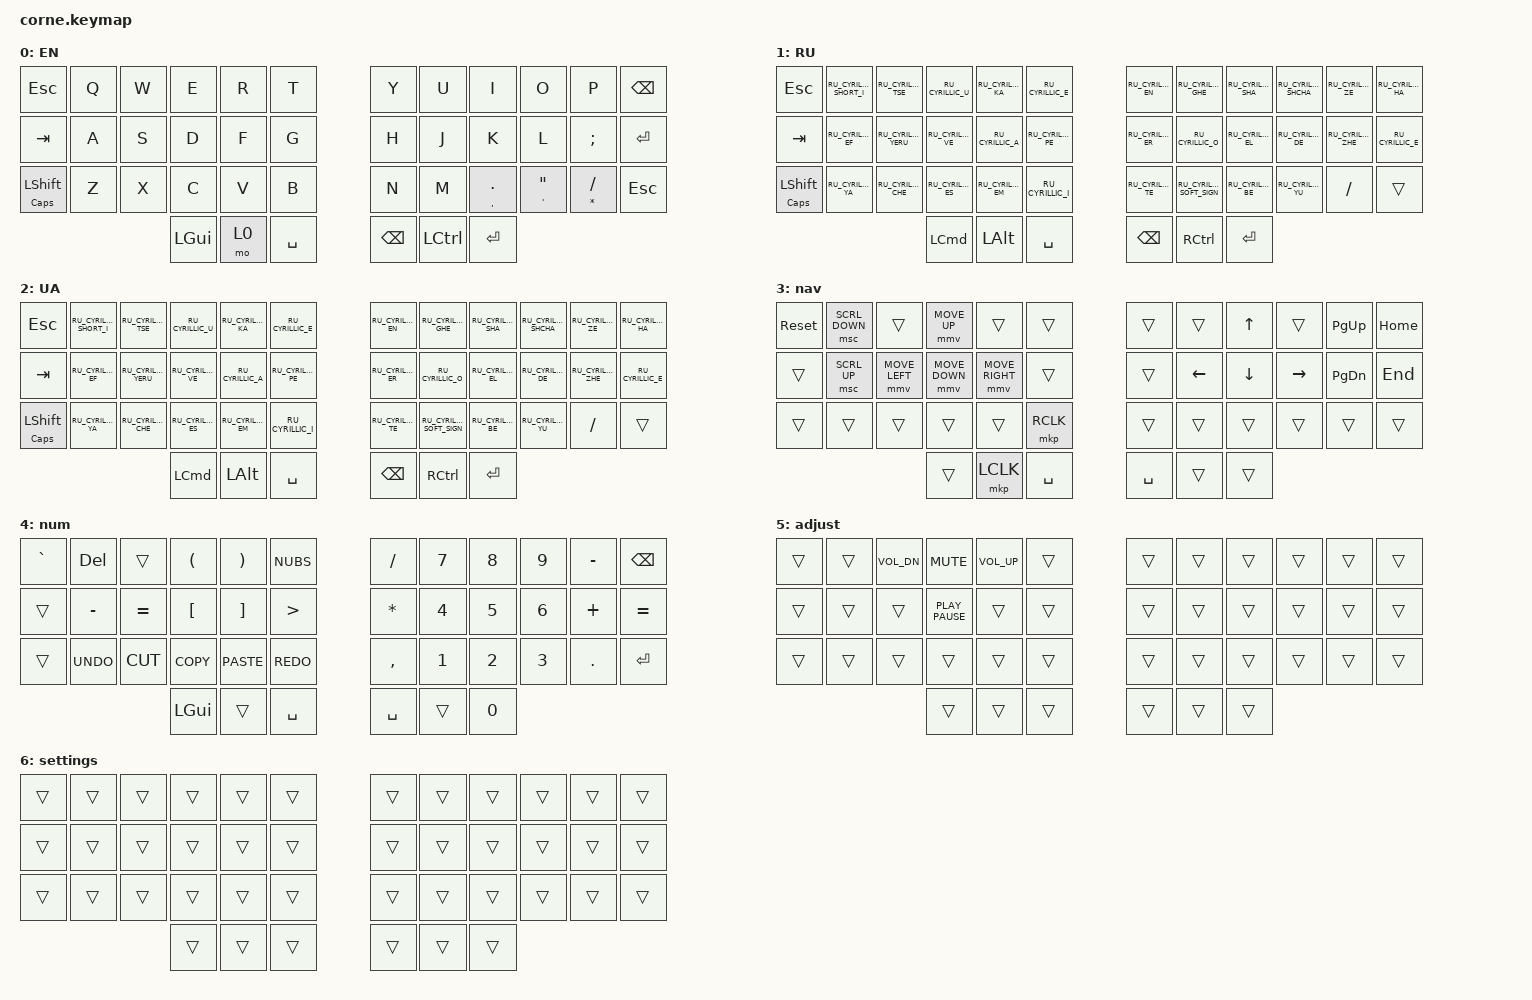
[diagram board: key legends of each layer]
/*
 * Copyright (c) 2020 The ZMK Contributors
 *
 * SPDX-License-Identifier: MIT
 */

#include "keys_ru.h"
#include <behaviors.dtsi>
#include <dt-bindings/zmk/keys.h>
#include <dt-bindings/zmk/pointing.h>

/ {
    combos {
        compatible = "zmk,combos";

        Escape {
            bindings = <&kp ESC>;
            key-positions = <0 11>;
        };

        OpenParenthesis {
            bindings = <&kp LEFT_PARENTHESIS>;
            key-positions = <6 7>;
        };

        OpenBrace {
            bindings = <&kp LEFT_BRACE>;
            key-positions = <18 19>;
        };

        OpenBracket {
            bindings = <&kp LEFT_BRACKET>;
            key-positions = <30 31>;
        };

        CloseParenthasis {
            bindings = <&kp RIGHT_PARENTHESIS>;
            key-positions = <8 7>;
        };

        CloseBrace {
            bindings = <&kp RIGHT_BRACE>;
            key-positions = <19 20>;
        };

        CloseBracket {
            bindings = <&kp RIGHT_BRACKET>;
            key-positions = <31 32>;
        };

        LessThan {
            bindings = <&kp LESS_THAN>;
            key-positions = <3 4>;
        };

        GreatherThan {
            bindings = <&kp GREATER_THAN>;
            key-positions = <4 5>;
        };

        Enter {
            bindings = <&kp ENTER>;
            key-positions = <38 39>;
        };
    };

    keymap {
        compatible = "zmk,keymap";

        EN {
            // -----------------------------------------------------------------------------------------
            // |  TAB |  Q  |  W  |  E  |  R  |  T  |   |  Y  |  U   |  I  |  O  |  P  | BSPC |
            // | SHFT |  A  |  S  |  D  |  F  |  G  |   |  H  |  J   |  K  |  L  |  ;  | ENTR |
            // | CTRL |  Z  |  X  |  C  |  V  |  B  |   |  N  |  M   | ./, | '/" |  /* | EQU |
            //                    | GUI | LWR | SPC |   | SPC | L2   | L1  |

            bindings = <
&kp ESCAPE               &kp Q  &kp W  &kp E     &kp R  &kp T        &kp Y          &kp U      &kp I          &kp O                  &kp P          &kp BSPC
&kp TAB                  &kp A  &kp S  &kp D     &kp F  &kp G        &kp H          &kp J      &kp K          &kp L                  &kp SEMI       &kp ENTER
&mt CAPSLOCK LEFT_SHIFT  &kp Z  &kp X  &kp C     &kp V  &kp B        &kp N          &kp M      &mt COMMA DOT  &mt SQT DOUBLE_QUOTES  &mt STAR FSLH  &kp ESC
                                       &kp LGUI  &mo 0  &kp SPACE    &kp BACKSPACE  &kp LCTRL  &kp ENTER
            >;
        };

        RU {
            bindings = <
&kp ESCAPE               &kp RU_CYRILLIC_SHORT_I  &kp RU_CYRILLIC_TSE   &kp RU_CYRILLIC_U   &kp RU_CYRILLIC_KA  &kp RU_CYRILLIC_E     &kp RU_CYRILLIC_EN  &kp RU_CYRILLIC_GHE        &kp RU_CYRILLIC_SHA  &kp RU_CYRILLIC_SHCHA  &kp RU_CYRILLIC_ZE   &kp RU_CYRILLIC_HA
&kp TAB                  &kp RU_CYRILLIC_EF       &kp RU_CYRILLIC_YERU  &kp RU_CYRILLIC_VE  &kp RU_CYRILLIC_A   &kp RU_CYRILLIC_PE    &kp RU_CYRILLIC_ER  &kp RU_CYRILLIC_O          &kp RU_CYRILLIC_EL   &kp RU_CYRILLIC_DE     &kp RU_CYRILLIC_ZHE  &kp RU_CYRILLIC_E
&mt CAPSLOCK LEFT_SHIFT  &kp RU_CYRILLIC_YA       &kp RU_CYRILLIC_CHE   &kp RU_CYRILLIC_ES  &kp RU_CYRILLIC_EM  &kp RU_CYRILLIC_I     &kp RU_CYRILLIC_TE  &kp RU_CYRILLIC_SOFT_SIGN  &kp RU_CYRILLIC_BE   &kp RU_CYRILLIC_YU     &kp FSLH             &trans
                                                                        &kp LEFT_COMMAND    &kp LEFT_ALT        &kp SPACE             &kp BACKSPACE       &kp RCTRL                  &kp ENTER
            >;
        };

        UA {
            bindings = <
&kp ESCAPE               &kp RU_CYRILLIC_SHORT_I  &kp RU_CYRILLIC_TSE   &kp RU_CYRILLIC_U   &kp RU_CYRILLIC_KA  &kp RU_CYRILLIC_E     &kp RU_CYRILLIC_EN  &kp RU_CYRILLIC_GHE        &kp RU_CYRILLIC_SHA  &kp RU_CYRILLIC_SHCHA  &kp RU_CYRILLIC_ZE   &kp RU_CYRILLIC_HA
&kp TAB                  &kp RU_CYRILLIC_EF       &kp RU_CYRILLIC_YERU  &kp RU_CYRILLIC_VE  &kp RU_CYRILLIC_A   &kp RU_CYRILLIC_PE    &kp RU_CYRILLIC_ER  &kp RU_CYRILLIC_O          &kp RU_CYRILLIC_EL   &kp RU_CYRILLIC_DE     &kp RU_CYRILLIC_ZHE  &kp RU_CYRILLIC_E
&mt CAPSLOCK LEFT_SHIFT  &kp RU_CYRILLIC_YA       &kp RU_CYRILLIC_CHE   &kp RU_CYRILLIC_ES  &kp RU_CYRILLIC_EM  &kp RU_CYRILLIC_I     &kp RU_CYRILLIC_TE  &kp RU_CYRILLIC_SOFT_SIGN  &kp RU_CYRILLIC_BE   &kp RU_CYRILLIC_YU     &kp FSLH             &trans
                                                                        &kp LEFT_COMMAND    &kp LEFT_ALT        &kp SPACE             &kp BACKSPACE       &kp RCTRL                  &kp ENTER
            >;
        };

        nav {
            // -----------------------------------------------------------------------------------------
            // | SYSR |     |     |     |     |     |   |     |  1  |  2  |  3  |  0  |      |
            // |      |     |     | UP  |     |     |   |     |  4  |  5  |  6  |     |      |
            // |      |     | LFT | DWN | RGT |     |   |     |  7  |  8  |  9  |     |      |
            //                    |     |     | SPC |   | SPC |     |     |

            bindings = <
&sys_reset  &msc SCRL_DOWN  &trans          &mmv MOVE_UP    &trans           &trans       &trans     &trans          &kp UP          &trans     &kp PG_UP      &kp HOME
&trans      &msc SCRL_UP    &mmv MOVE_LEFT  &mmv MOVE_DOWN  &mmv MOVE_RIGHT  &trans       &trans     &kp LEFT_ARROW  &kp DOWN_ARROW  &kp RIGHT  &kp PAGE_DOWN  &kp END
&trans      &trans          &trans          &trans          &trans           &mkp RCLK    &trans     &trans          &trans          &trans     &trans         &trans
                                            &trans          &mkp LCLK        &kp SPACE    &kp SPACE  &trans          &trans
            >;
        };

        num {
            // -----------------------------------------------------------------------------------------
            // |  TAB |  !  |  @  |  #  |  &  |  %  |   |  ^  |  $  |  *  |  (  |  )  | BSPC |
            // | CTRL |MUTE |V_UP |V_DWN|  <  |  >  |   |  -  |  =  |  [  |  ]  |  \  |  `   |
            // | SHFT |     |     |     |     |     |   |  _  |  +  |  {  |  }  | "|" |  ~   |
            //                    | GUI |     | SPC |   | SPC |     | ALT |

            bindings = <
&kp GRAVE  &kp DELETE  &trans     &kp LPAR          &kp RPAR           &kp NUBS            &kp FSLH   &kp NUMBER_7  &kp NUMBER_8  &kp NUMBER_9  &kp MINUS  &kp BSPC
&trans     &kp MINUS   &kp EQUAL  &kp LEFT_BRACKET  &kp RIGHT_BRACKET  &kp GREATER_THAN    &kp ASTRK  &kp NUMBER_4  &kp NUMBER_5  &kp NUMBER_6  &kp PLUS   &kp EQUAL
&trans     &kp K_UNDO  &kp K_CUT  &kp K_COPY        &kp K_PASTE        &kp K_REDO          &kp COMMA  &kp N1        &kp NUMBER_2  &kp NUMBER_3  &kp DOT    &kp ENTER
                                  &kp LGUI          &trans             &kp SPACE           &kp SPACE  &trans        &kp N0
            >;
        };

        adjust {
            bindings = <
&trans  &trans  &kp C_VOL_DN  &kp K_MUTE        &kp C_VOLUME_UP  &trans    &trans  &trans  &trans  &trans  &trans  &trans
&trans  &trans  &trans        &kp K_PLAY_PAUSE  &trans           &trans    &trans  &trans  &trans  &trans  &trans  &trans
&trans  &trans  &trans        &trans            &trans           &trans    &trans  &trans  &trans  &trans  &trans  &trans
                              &trans            &trans           &trans    &trans  &trans  &trans
            >;
        };

        settings {
            bindings = <
&trans  &trans  &trans  &trans  &trans  &trans    &trans  &trans  &trans  &trans  &trans  &trans
&trans  &trans  &trans  &trans  &trans  &trans    &trans  &trans  &trans  &trans  &trans  &trans
&trans  &trans  &trans  &trans  &trans  &trans    &trans  &trans  &trans  &trans  &trans  &trans
                        &trans  &trans  &trans    &trans  &trans  &trans
            >;
        };
    };
};

//For new Layers
// -----------------------------------------------------------------------------------------
// |      |     |     |     |     |     |   |     |     |     |     |     |      |
// |      |     |     |     |     |     |   |     |     |     |     |     |      |
// |      |     |     |     |     |     |   |     |     |     |     |     |      |
//                    |     |     |     |   |     |     |     |
